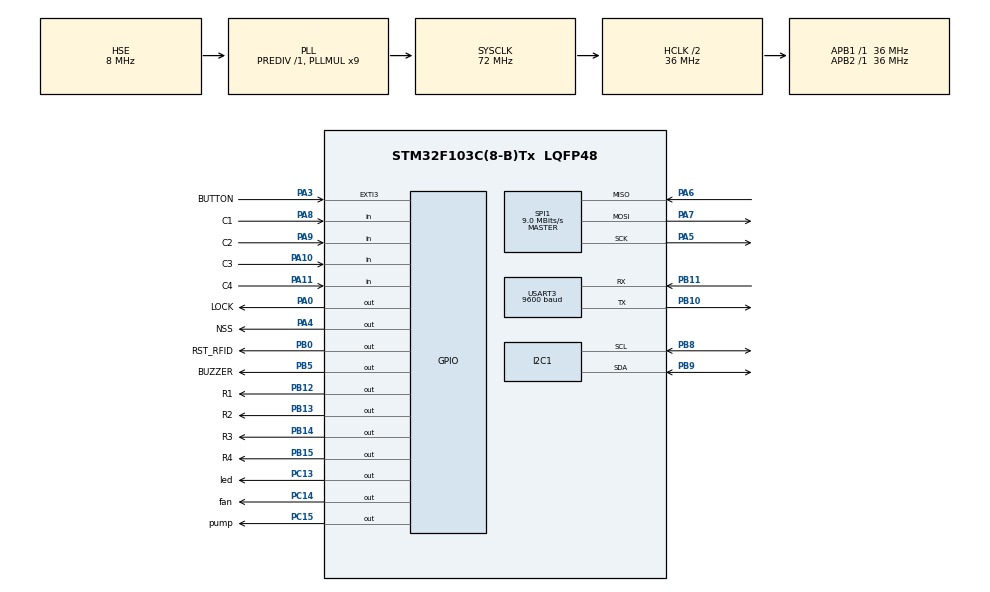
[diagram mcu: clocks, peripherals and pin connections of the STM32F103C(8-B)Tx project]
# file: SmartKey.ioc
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Mcu.Family=STM32F1
Mcu.Name=STM32F103C(8-B)Tx
Mcu.Package=LQFP48
NVIC.PriorityGroup=NVIC_PRIORITYGROUP_4
NVIC.TIM1_UP_IRQn=true\:0\:0\:false\:false\:true\:true\:true\:true
NVIC.TIM2_IRQn=true\:0\:0\:false\:false\:true\:true\:true\:true
NVIC.USART3_IRQn=true\:1\:0\:true\:false\:true\:true\:true\:true
PA0-WKUP.GPIO_Label=LOCK
PA0-WKUP.Signal=GPIO_Output
PA10.GPIO_Label=C3
PA10.GPIO_PuPd=GPIO_PULLUP
PA10.Signal=GPIO_Input
PA11.GPIO_Label=C4
PA11.GPIO_PuPd=GPIO_PULLUP
PA11.Signal=GPIO_Input
PA13.Mode=Serial_Wire
PA13.Signal=SYS_JTMS-SWDIO
PA14.Mode=Serial_Wire
PA14.Signal=SYS_JTCK-SWCLK
PA3.GPIO_Label=BUTTON
PA3.GPIO_ModeDefaultEXTI=GPIO_MODE_IT_FALLING
PA3.GPIO_PuPd=GPIO_PULLUP
PA3.Signal=GPXTI3
PA4.GPIO_Label=NSS
PA4.GPIO_Speed=GPIO_SPEED_FREQ_LOW
PA4.Signal=GPIO_Output
PA5.Mode=Full_Duplex_Master
PA5.Signal=SPI1_SCK
PA6.Mode=Full_Duplex_Master
PA6.Signal=SPI1_MISO
PA7.Mode=Full_Duplex_Master
PA7.Signal=SPI1_MOSI
PA8.GPIO_Label=C1
PA8.GPIO_PuPd=GPIO_PULLUP
PA8.Signal=GPIO_Input
PA9.GPIO_Label=C2
PA9.GPIO_PuPd=GPIO_PULLUP
PA9.Signal=GPIO_Input
PB0.GPIO_Label=RST_RFID
PB0.GPIO_Speed=GPIO_SPEED_FREQ_LOW
PB0.Signal=GPIO_Output
PB10.Mode=Asynchronous
PB10.Signal=USART3_TX
PB11.Mode=Asynchronous
PB11.Signal=USART3_RX
PB12.GPIO_Label=R1
PB12.GPIO_Speed=GPIO_SPEED_FREQ_LOW
PB12.PinState=GPIO_PIN_RESET
PB12.Signal=GPIO_Output
PB13.GPIO_Label=R2
PB13.Signal=GPIO_Output
PB14.GPIO_Label=R3
PB14.GPIO_Speed=GPIO_SPEED_FREQ_LOW
PB14.PinState=GPIO_PIN_SET
PB14.Signal=GPIO_Output
PB15.GPIO_Label=R4
PB15.GPIO_Speed=GPIO_SPEED_FREQ_LOW
PB15.PinState=GPIO_PIN_SET
PB15.Signal=GPIO_Output
PB5.GPIO_Label=BUZZER
PB5.Signal=GPIO_Output
PB8.Mode=I2C
PB8.Signal=I2C1_SCL
PB9.Mode=I2C
PB9.Signal=I2C1_SDA
PC13-TAMPER-RTC.GPIO_Label=led
PC13-TAMPER-RTC.Signal=GPIO_Output
PC14-OSC32_IN.GPIO_Label=fan
PC14-OSC32_IN.Signal=GPIO_Output
PC15-OSC32_OUT.GPIO_Label=pump
PC15-OSC32_OUT.Signal=GPIO_Output
PD0-OSC_IN.Mode=HSE-External-Oscillator
PD0-OSC_IN.Signal=RCC_OSC_IN
PD1-OSC_OUT.Mode=HSE-External-Oscillator
PD1-OSC_OUT.Signal=RCC_OSC_OUT
ProjectManager.HeapSize=0x200
ProjectManager.StackSize=0x400
ProjectManager.TargetToolchain=MDK-ARM V5.32
RCC.AHBCLKDivider=RCC_SYSCLK_DIV2
RCC.AHBFreq_Value=36000000
RCC.APB1Freq_Value=36000000
RCC.APB1TimFreq_Value=36000000
RCC.APB2Freq_Value=36000000
RCC.APB2TimFreq_Value=36000000
RCC.HCLKFreq_Value=36000000
RCC.PLLMUL=RCC_PLL_MUL9
RCC.PLLSourceVirtual=RCC_PLLSOURCE_HSE
RCC.SYSCLKFreq_VALUE=72000000
RCC.SYSCLKSource=RCC_SYSCLKSOURCE_PLLCLK
RCC.USBFreq_Value=72000000
SPI1.BaudRatePrescaler=SPI_BAUDRATEPRESCALER_4
SPI1.CalculateBaudRate=9.0 MBits/s
SPI1.Direction=SPI_DIRECTION_2LINES
SPI1.Mode=SPI_MODE_MASTER
SPI1.VirtualType=VM_MASTER
TIM1.Period=1000-1
TIM1.Prescaler=360-1
TIM2.Period=1000-1
TIM2.Prescaler=180-1
USART3.BaudRate=9600
USART3.VirtualMode=VM_ASYNC
VP_TIM1_VS_ClockSourceINT.Mode=Internal
VP_TIM2_VS_ClockSourceINT.Mode=Internal
board=custom

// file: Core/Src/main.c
/* USER CODE BEGIN Header */
/**
  ******************************************************************************
  * @file           : main.c
  * @brief          : Main program body
  ******************************************************************************
  * @attention
  *
  * Copyright (c) 2024 STMicroelectronics.
  * All rights reserved.
  *
  * This software is licensed under terms that can be found in the LICENSE file
  * in the root directory of this software component.
  * If no LICENSE file comes with this software, it is provided AS-IS.
  *
  ******************************************************************************
  */
/* USER CODE END Header */
#include "main.h"

/* USER CODE BEGIN Includes */
#include <RFID.h>
#include "string.h"
#include <LCD_I2C.h>
#include <user.h>
#include "stdbool.h"
/* USER CODE END Includes */

/* USER CODE BEGIN PTD */
uint8_t Rx_data[1];

uint8_t data_truyen1[] = "A";
uint8_t data_truyen2[] = "a";
/* USER CODE END PTD */

I2C_HandleTypeDef hi2c1;

SPI_HandleTypeDef hspi1;

TIM_HandleTypeDef htim1;
TIM_HandleTypeDef htim2;

UART_HandleTypeDef huart3;

void SystemClock_Config(void);
static void MX_GPIO_Init(void);
static void MX_I2C1_Init(void);
static void MX_SPI1_Init(void);
static void MX_TIM2_Init(void);
static void MX_TIM1_Init(void);
static void MX_USART3_UART_Init(void);

int main(void)
{

  /* MCU Configuration--------------------------------------------------------*/

  /* Reset of all peripherals, Initializes the Flash interface and the Systick. */
  HAL_Init();

  /* Configure the system clock */
  SystemClock_Config();

  /* Initialize all configured peripherals */
  MX_GPIO_Init();
  MX_I2C1_Init();
  MX_SPI1_Init();
  MX_TIM2_Init();
  MX_TIM1_Init();
  MX_USART3_UART_Init();
  /* USER CODE BEGIN 2 */

     main_init();
//		HAL_UART_Transmit(&huart3, Tx_data, sizeof(Tx_data), 100);
HAL_UART_Receive_IT(&huart3, Rx_data, sizeof(Rx_data));
  /* USER CODE END 2 */

  /* Infinite loop */
    while (1)
    {

    /* USER CODE BEGIN 3 */
        main_process();

    }
  /* USER CODE END 3 */
}

void SystemClock_Config(void)
{
  RCC_OscInitTypeDef RCC_OscInitStruct = {0};
  RCC_ClkInitTypeDef RCC_ClkInitStruct = {0};

  /** Initializes the RCC Oscillators according to the specified parameters
  * in the RCC_OscInitTypeDef structure.
  */
  RCC_OscInitStruct.OscillatorType = RCC_OSCILLATORTYPE_HSE;
  RCC_OscInitStruct.HSEState = RCC_HSE_ON;
  RCC_OscInitStruct.HSEPredivValue = RCC_HSE_PREDIV_DIV1;
  RCC_OscInitStruct.HSIState = RCC_HSI_ON;
  RCC_OscInitStruct.PLL.PLLState = RCC_PLL_ON;
  RCC_OscInitStruct.PLL.PLLSource = RCC_PLLSOURCE_HSE;
  RCC_OscInitStruct.PLL.PLLMUL = RCC_PLL_MUL9;
  if (HAL_RCC_OscConfig(&RCC_OscInitStruct) != HAL_OK)
  {
    Error_Handler();
  }

  /** Initializes the CPU, AHB and APB buses clocks
  */
  RCC_ClkInitStruct.ClockType = RCC_CLOCKTYPE_HCLK|RCC_CLOCKTYPE_SYSCLK
                              |RCC_CLOCKTYPE_PCLK1|RCC_CLOCKTYPE_PCLK2;
  RCC_ClkInitStruct.SYSCLKSource = RCC_SYSCLKSOURCE_PLLCLK;
  RCC_ClkInitStruct.AHBCLKDivider = RCC_SYSCLK_DIV2;
  RCC_ClkInitStruct.APB1CLKDivider = RCC_HCLK_DIV1;
  RCC_ClkInitStruct.APB2CLKDivider = RCC_HCLK_DIV1;

  if (HAL_RCC_ClockConfig(&RCC_ClkInitStruct, FLASH_LATENCY_2) != HAL_OK)
  {
    Error_Handler();
  }
}

static void MX_I2C1_Init(void)
{

  hi2c1.Instance = I2C1;
  hi2c1.Init.ClockSpeed = 100000;
  hi2c1.Init.DutyCycle = I2C_DUTYCYCLE_2;
  hi2c1.Init.OwnAddress1 = 0;
  hi2c1.Init.AddressingMode = I2C_ADDRESSINGMODE_7BIT;
  hi2c1.Init.DualAddressMode = I2C_DUALADDRESS_DISABLE;
  hi2c1.Init.OwnAddress2 = 0;
  hi2c1.Init.GeneralCallMode = I2C_GENERALCALL_DISABLE;
  hi2c1.Init.NoStretchMode = I2C_NOSTRETCH_DISABLE;
  if (HAL_I2C_Init(&hi2c1) != HAL_OK)
  {
    Error_Handler();
  }

}

static void MX_SPI1_Init(void)
{

  /* SPI1 parameter configuration*/
  hspi1.Instance = SPI1;
  hspi1.Init.Mode = SPI_MODE_MASTER;
  hspi1.Init.Direction = SPI_DIRECTION_2LINES;
  hspi1.Init.DataSize = SPI_DATASIZE_8BIT;
  hspi1.Init.CLKPolarity = SPI_POLARITY_LOW;
  hspi1.Init.CLKPhase = SPI_PHASE_1EDGE;
  hspi1.Init.NSS = SPI_NSS_SOFT;
  hspi1.Init.BaudRatePrescaler = SPI_BAUDRATEPRESCALER_4;
  hspi1.Init.FirstBit = SPI_FIRSTBIT_MSB;
  hspi1.Init.TIMode = SPI_TIMODE_DISABLE;
  hspi1.Init.CRCCalculation = SPI_CRCCALCULATION_DISABLE;
  hspi1.Init.CRCPolynomial = 10;
  if (HAL_SPI_Init(&hspi1) != HAL_OK)
  {
    Error_Handler();
  }

}

static void MX_TIM1_Init(void)
{

  TIM_ClockConfigTypeDef sClockSourceConfig = {0};
  TIM_MasterConfigTypeDef sMasterConfig = {0};

  htim1.Instance = TIM1;
  htim1.Init.Prescaler = 360-1;
  htim1.Init.CounterMode = TIM_COUNTERMODE_UP;
  htim1.Init.Period = 1000-1;
  htim1.Init.ClockDivision = TIM_CLOCKDIVISION_DIV1;
  htim1.Init.RepetitionCounter = 0;
  htim1.Init.AutoReloadPreload = TIM_AUTORELOAD_PRELOAD_DISABLE;
  if (HAL_TIM_Base_Init(&htim1) != HAL_OK)
  {
    Error_Handler();
  }
  sClockSourceConfig.ClockSource = TIM_CLOCKSOURCE_INTERNAL;
  if (HAL_TIM_ConfigClockSource(&htim1, &sClockSourceConfig) != HAL_OK)
  {
    Error_Handler();
  }
  sMasterConfig.MasterOutputTrigger = TIM_TRGO_RESET;
  sMasterConfig.MasterSlaveMode = TIM_MASTERSLAVEMODE_DISABLE;
  if (HAL_TIMEx_MasterConfigSynchronization(&htim1, &sMasterConfig) != HAL_OK)
  {
    Error_Handler();
  }

}

static void MX_TIM2_Init(void)
{

  TIM_ClockConfigTypeDef sClockSourceConfig = {0};
  TIM_MasterConfigTypeDef sMasterConfig = {0};

  htim2.Instance = TIM2;
  htim2.Init.Prescaler = 180-1;
  htim2.Init.CounterMode = TIM_COUNTERMODE_UP;
  htim2.Init.Period = 1000-1;
  htim2.Init.ClockDivision = TIM_CLOCKDIVISION_DIV1;
  htim2.Init.AutoReloadPreload = TIM_AUTORELOAD_PRELOAD_DISABLE;
  if (HAL_TIM_Base_Init(&htim2) != HAL_OK)
  {
    Error_Handler();
  }
  sClockSourceConfig.ClockSource = TIM_CLOCKSOURCE_INTERNAL;
  if (HAL_TIM_ConfigClockSource(&htim2, &sClockSourceConfig) != HAL_OK)
  {
    Error_Handler();
  }
  sMasterConfig.MasterOutputTrigger = TIM_TRGO_RESET;
  sMasterConfig.MasterSlaveMode = TIM_MASTERSLAVEMODE_DISABLE;
  if (HAL_TIMEx_MasterConfigSynchronization(&htim2, &sMasterConfig) != HAL_OK)
  {
    Error_Handler();
  }

}

static void MX_USART3_UART_Init(void)
{

  huart3.Instance = USART3;
  huart3.Init.BaudRate = 9600;
  huart3.Init.WordLength = UART_WORDLENGTH_8B;
  huart3.Init.StopBits = UART_STOPBITS_1;
  huart3.Init.Parity = UART_PARITY_NONE;
  huart3.Init.Mode = UART_MODE_TX_RX;
  huart3.Init.HwFlowCtl = UART_HWCONTROL_NONE;
  huart3.Init.OverSampling = UART_OVERSAMPLING_16;
  if (HAL_UART_Init(&huart3) != HAL_OK)
  {
    Error_Handler();
  }

}

static void MX_GPIO_Init(void)
{
  GPIO_InitTypeDef GPIO_InitStruct = {0};

  /* GPIO Ports Clock Enable */
  __HAL_RCC_GPIOC_CLK_ENABLE();
  __HAL_RCC_GPIOD_CLK_ENABLE();
  __HAL_RCC_GPIOA_CLK_ENABLE();
  __HAL_RCC_GPIOB_CLK_ENABLE();

  /*Configure GPIO pin Output Level */
  HAL_GPIO_WritePin(GPIOC, led_Pin|fan_Pin|pump_Pin, GPIO_PIN_RESET);

  /*Configure GPIO pin Output Level */
  HAL_GPIO_WritePin(GPIOA, LOCK_Pin|NSS_Pin, GPIO_PIN_RESET);

  /*Configure GPIO pin Output Level */
  HAL_GPIO_WritePin(GPIOB, RST_RFID_Pin|R1_Pin|R2_Pin|BUZZER_Pin, GPIO_PIN_RESET);

  /*Configure GPIO pin Output Level */
  HAL_GPIO_WritePin(GPIOB, R3_Pin|R4_Pin, GPIO_PIN_SET);

  /*Configure GPIO pins : led_Pin fan_Pin pump_Pin */
  GPIO_InitStruct.Pin = led_Pin|fan_Pin|pump_Pin;
  GPIO_InitStruct.Mode = GPIO_MODE_OUTPUT_PP;
  GPIO_InitStruct.Pull = GPIO_NOPULL;
  GPIO_InitStruct.Speed = GPIO_SPEED_FREQ_LOW;
  HAL_GPIO_Init(GPIOC, &GPIO_InitStruct);

  /*Configure GPIO pins : LOCK_Pin NSS_Pin */
  GPIO_InitStruct.Pin = LOCK_Pin|NSS_Pin;
  GPIO_InitStruct.Mode = GPIO_MODE_OUTPUT_PP;
  GPIO_InitStruct.Pull = GPIO_NOPULL;
  GPIO_InitStruct.Speed = GPIO_SPEED_FREQ_LOW;
  HAL_GPIO_Init(GPIOA, &GPIO_InitStruct);

  /*Configure GPIO pin : BUTTON_Pin */
  GPIO_InitStruct.Pin = BUTTON_Pin;
  GPIO_InitStruct.Mode = GPIO_MODE_IT_FALLING;
  GPIO_InitStruct.Pull = GPIO_PULLUP;
  HAL_GPIO_Init(BUTTON_GPIO_Port, &GPIO_InitStruct);

  /*Configure GPIO pins : RST_RFID_Pin R1_Pin R2_Pin R3_Pin
                           R4_Pin BUZZER_Pin */
  GPIO_InitStruct.Pin = RST_RFID_Pin|R1_Pin|R2_Pin|R3_Pin
                          |R4_Pin|BUZZER_Pin;
  GPIO_InitStruct.Mode = GPIO_MODE_OUTPUT_PP;
  GPIO_InitStruct.Pull = GPIO_NOPULL;
  GPIO_InitStruct.Speed = GPIO_SPEED_FREQ_LOW;
  HAL_GPIO_Init(GPIOB, &GPIO_InitStruct);

  /*Configure GPIO pins : C1_Pin C2_Pin C3_Pin C4_Pin */
  GPIO_InitStruct.Pin = C1_Pin|C2_Pin|C3_Pin|C4_Pin;
  GPIO_InitStruct.Mode = GPIO_MODE_INPUT;
  GPIO_InitStruct.Pull = GPIO_PULLUP;
  HAL_GPIO_Init(GPIOA, &GPIO_InitStruct);

}

/* USER CODE BEGIN 4 */
void HAL_UART_RxCpltCallback(UART_HandleTypeDef *huart)
{
	if(huart->Instance == huart3.Instance)
	{
		HAL_UART_Receive_IT(&huart3, Rx_data, sizeof(Rx_data));
		if (Rx_data[0] == '1')
				{
					HAL_GPIO_WritePin(LOCK_GPIO_Port,LOCK_Pin, 1);
					HAL_UART_Transmit(&huart3, data_truyen1, sizeof(data_truyen1), 100);
				}
		else if (Rx_data[0] == '2')
				{
					HAL_GPIO_WritePin(LOCK_GPIO_Port,LOCK_Pin, 0);
					HAL_UART_Transmit(&huart3, data_truyen1, sizeof(data_truyen2), 100);
				}
//		else if (Rx_data[0] == '3')
//				{
//					HAL_GPIO_WritePin(pump_GPIO_Port,pump_Pin, 1);
//				}
//		else if (Rx_data[0] == '4')
//				{
//					HAL_GPIO_WritePin(pump_GPIO_Port,pump_Pin, 0);
//				}
//		else if (Rx_data[0] == '5')
//				{
//					HAL_GPIO_WritePin(led_GPIO_Port,led_Pin, 1);
//				}
//		else if (Rx_data[0] == '6')
//				{
//					HAL_GPIO_WritePin(led_GPIO_Port,led_Pin, 0);
//				}
	}
}

//void HAL_UART_RxCpltCallback(UART_HandleTypeDef *huart){

//	if(huart->Instance == USART3){
//		HAL_UART_Receive_IT(&huart3, (uint8_t*)Rx_data, 1);
//	}
//}

/* USER CODE END 4 */

void Error_Handler(void)
{
    __disable_irq();
    while (1)
    {
    }
}
